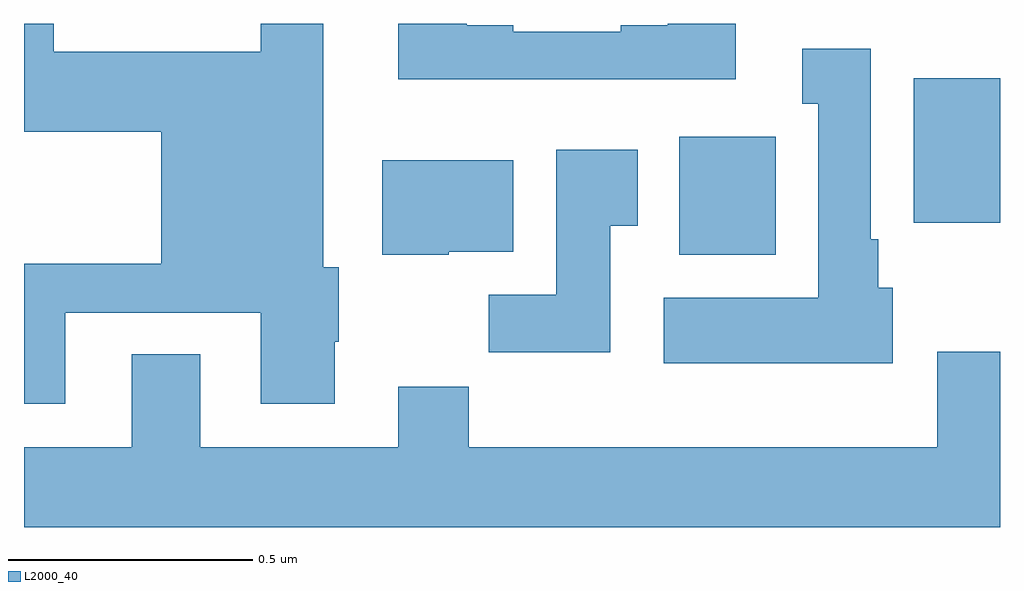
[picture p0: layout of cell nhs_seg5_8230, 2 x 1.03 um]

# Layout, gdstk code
import gdstk
lib = gdstk.Library(unit=1e-6, precision=1e-09)
def R(c, l, rs):  # rectangles x0, y0, x1, y1
    for r in rs: c.add(gdstk.rectangle(r[:2], r[2:], *l))
def P(c, l, *ps):  # polygons
    for p in ps: c.add(gdstk.Polygon(p, *l))
L2000_40 = (2000, 40)

nhs_seg5_8230 = lib.new_cell('nhs_seg5_8230')
R(nhs_seg5_8230, L2000_40, [(220.343,849.326,220.54,849.568), (220.823,849.392,221,849.688)])
P(nhs_seg5_8230, L2000_40, [(219.085,849.207),(219.485,849.207),(219.485,849.021),(219.637,849.021),(219.637,849.148),(219.645,849.148),(219.645,849.3),(219.613,849.3),(219.613,849.799),(219.485,849.799),(219.485,849.742),(219.061,849.742),(219.061,849.799),(219,849.799),(219,849.578),(219.281,849.578),(219.281,849.308),(219,849.308),(219,849.021),(219.085,849.021)],
  [(220.459,849.799),(220.319,849.799),(220.319,849.796),(220.223,849.796),(220.223,849.783),(220.003,849.783),(220.003,849.796),(219.907,849.796),(219.907,849.799),(219.767,849.799),(219.767,849.686),(220.459,849.686)],
  [(220.78,849.258),(220.75,849.258),(220.75,849.358),(220.735,849.358),(220.735,849.748),(220.595,849.748),(220.595,849.635),(220.628,849.635),(220.628,849.238),(220.311,849.238),(220.311,849.104),(220.78,849.104)],
  [(220.201,849.385),(220.258,849.385),(220.258,849.541),(220.091,849.541),(220.091,849.244),(219.952,849.244),(219.952,849.126),(220.201,849.126)],
  [(219.87,849.332),(220.003,849.332),(220.003,849.52),(219.734,849.52),(219.734,849.326),(219.87,849.326)],
  [(221,849.127),(220.871,849.127),(220.871,848.932),(219.911,848.932),(219.911,849.056),(219.767,849.056),(219.767,848.932),(219.361,848.932),(219.361,849.122),(219.221,849.122),(219.221,848.932),(219,848.932),(219,848.768),(221,848.768)])

lib.write_gds('nhs_seg5_8230.gds')
